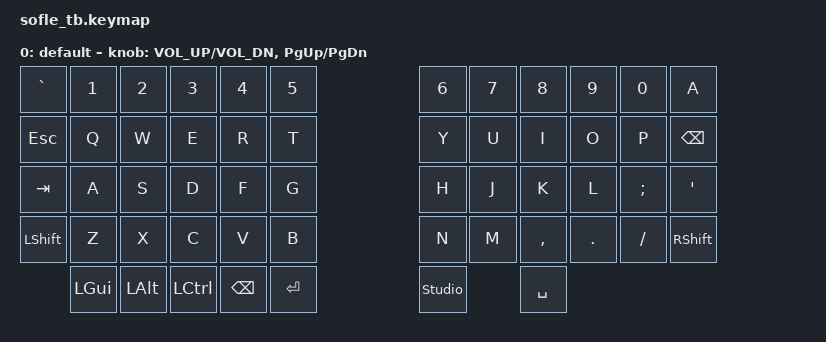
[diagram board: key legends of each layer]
/*
 * Copyright (c) 2020 The ZMK Contributors
 *
 * SPDX-License-Identifier: MIT
 */

#include <behaviors.dtsi>
#include <dt-bindings/zmk/keys.h>
#include <dt-bindings/zmk/bt.h>
#include <dt-bindings/zmk/rgb.h>
#include <dt-bindings/zmk/ext_power.h>
#include <behaviors/mouse_keys.dtsi>
#include <dt-bindings/zmk/mouse.h>
#include <dt-bindings/zmk/outputs.h>


/ {

   // Activate ADJUST layer by pressing raise and lowe

    keymap {
        compatible = "zmk,keymap";

        default_layer {
            display-name = "default";
// ------------------------------------------------------------------------------------------------------------
// |   `   |  1  |  2  |  3   |  4   |  5   |                   |  6   |  7    |  8    |  9   |   0   |       |
// |  ESC  |  Q  |  W  |  E   |  R   |  T   |                   |  Y   |  U    |  I    |  O   |   P   | BKSPC |
// |  TAB  |  A  |  S  |  D   |  F   |  G   |                   |  H   |  J    |  K    |  L   |   ;   |   '   |
// | SHIFT |  Z  |  X  |  C   |  V   |  B   |  MUTE  |  |       |  N   |  M    |  ,    |  .   |   /   | SHIFT |
//               | GUI | ALT  | CTRL | LOWER|  ENTER |  | SPACE | RAISE| CTRL  | ALT   | GUI  |
            bindings = <
&kp GRAVE &kp N1 &kp N2   &kp N3   &kp N4    &kp N5                           &kp N6 &kp N7    &kp N8    &kp N9   &kp N0   &kp A
&kp ESC   &kp Q  &kp W    &kp E    &kp R     &kp T                            &kp Y  &kp U     &kp I     &kp O    &kp P    &kp BSPC
&kp TAB   &kp A  &kp S    &kp D    &kp F     &kp G                            &kp H  &kp J     &kp K     &kp L    &kp SEMI &kp SQT
&kp LSHFT &kp Z  &kp X    &kp C    &kp V     &kp B                            &kp N  &kp M     &kp COMMA &kp DOT  &kp FSLH &kp RSHFT
          &kp LGUI &kp LALT &kp LCTRL &kp BSPC  &kp RET                      &studio_unlock  &kp SPACE
            >;

            sensor-bindings = <&inc_dec_kp C_VOL_UP C_VOL_DN &inc_dec_kp PG_UP PG_DN>;
        };

    };
};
